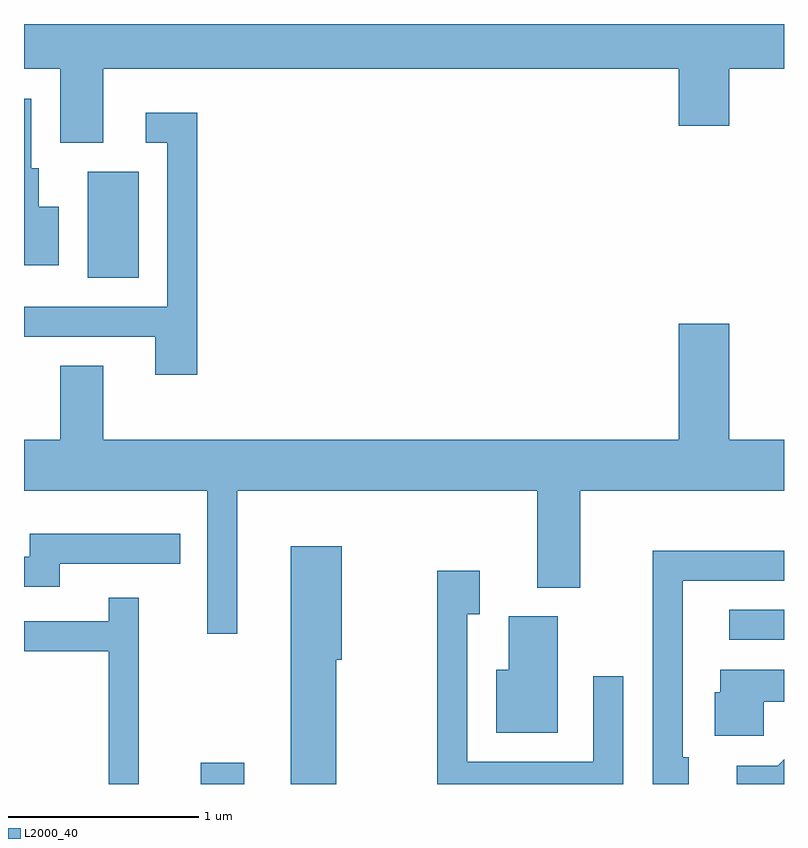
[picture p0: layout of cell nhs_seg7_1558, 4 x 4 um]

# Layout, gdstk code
import gdstk
lib = gdstk.Library(unit=1e-6, precision=1e-09)
def R(c, l, rs):  # rectangles x0, y0, x1, y1
    for r in rs: c.add(gdstk.rectangle(r[:2], r[2:], *l))
def P(c, l, *ps):  # polygons
    for p in ps: c.add(gdstk.Polygon(p, *l))
L2000_40 = (2000, 40)

nhs_seg7_1558 = lib.new_cell('nhs_seg7_1558')
R(nhs_seg7_1558, L2000_40, [(232.541,1788.252,232.769,1788.364), (235.323,1789.011,235.611,1789.169), (231.946,1790.916,232.214,1791.474)])
P(nhs_seg7_1558, L2000_40, [(232.029,1792.016),(235.056,1792.016),(235.056,1791.716),(235.324,1791.716),(235.324,1792.016),(235.611,1792.016),(235.611,1792.252),(231.611,1792.252),(231.611,1792.016),(231.801,1792.016),(231.801,1791.626),(232.029,1791.626)],
  [(231.794,1791.289),(231.689,1791.289),(231.689,1791.494),(231.649,1791.494),(231.649,1791.859),(231.611,1791.859),(231.611,1790.981),(231.794,1790.981)],
  [(232.524,1791.784),(232.253,1791.784),(232.253,1791.626),(232.366,1791.626),(232.366,1790.764),(231.611,1790.764),(231.611,1790.606),(232.301,1790.606),(232.301,1790.406),(232.524,1790.406)],
  [(232.734,1789.796),(234.311,1789.796),(234.311,1789.286),(234.539,1789.286),(234.539,1789.796),(235.611,1789.796),(235.611,1790.064),(235.324,1790.064),(235.324,1790.674),(235.056,1790.674),(235.056,1790.064),(232.029,1790.064),(232.029,1790.454),(231.801,1790.454),(231.801,1790.064),(231.611,1790.064),(231.611,1789.796),(232.576,1789.796),(232.576,1789.043),(232.734,1789.043)],
  [(231.799,1789.411),(232.433,1789.411),(232.433,1789.569),(231.641,1789.569),(231.641,1789.449),(231.611,1789.449),(231.611,1789.291),(231.799,1789.291)],
  [(233.254,1788.906),(233.284,1788.906),(233.284,1789.504),(233.016,1789.504),(233.016,1788.252),(233.254,1788.252)],
  [(235.109,1788.394),(235.079,1788.394),(235.079,1789.321),(235.611,1789.321),(235.611,1789.479),(234.921,1789.479),(234.921,1788.252),(235.109,1788.252)],
  [(234.764,1788.818),(234.606,1788.818),(234.606,1788.369),(233.944,1788.369),(233.944,1789.146),(234.009,1789.146),(234.009,1789.374),(233.786,1789.374),(233.786,1788.252),(234.764,1788.252)],
  [(232.214,1789.233),(232.056,1789.233),(232.056,1789.109),(231.611,1789.109),(231.611,1788.951),(232.056,1788.951),(232.056,1788.252),(232.214,1788.252)],
  [(234.419,1789.134),(234.161,1789.134),(234.161,1788.854),(234.096,1788.854),(234.096,1788.521),(234.419,1788.521)],
  [(235.504,1788.686),(235.611,1788.686),(235.611,1788.854),(235.276,1788.854),(235.276,1788.734),(235.246,1788.734),(235.246,1788.506),(235.504,1788.506)],
  [(235.611,1788.381),(235.579,1788.349),(235.363,1788.349),(235.363,1788.252),(235.611,1788.252)])

lib.write_gds('nhs_seg7_1558.gds')
